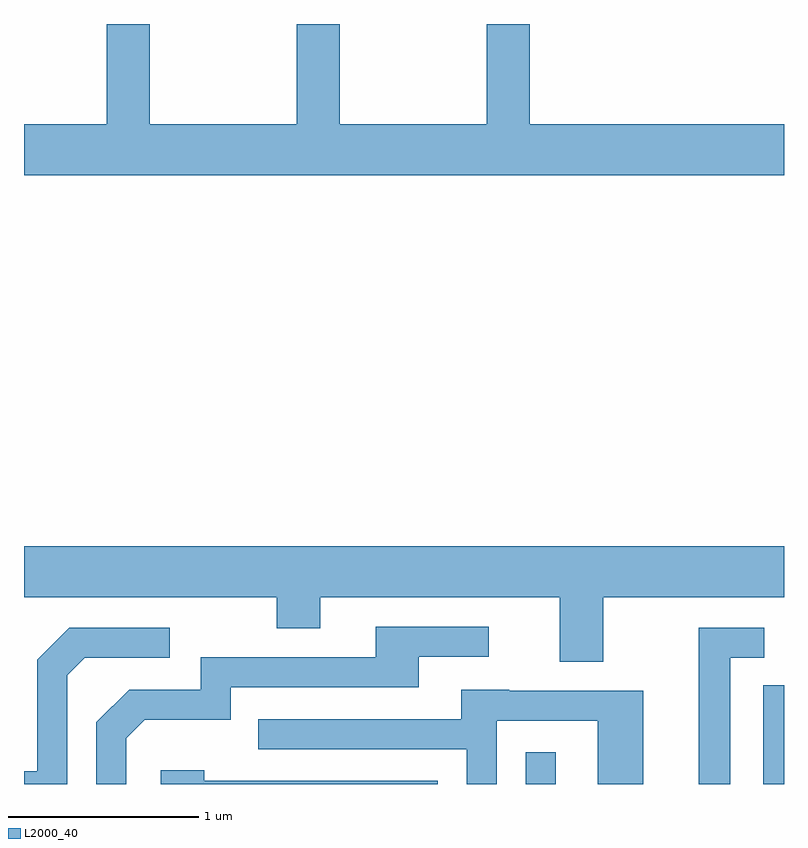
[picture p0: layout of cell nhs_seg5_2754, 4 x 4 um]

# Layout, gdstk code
import gdstk
lib = gdstk.Library(unit=1e-6, precision=1e-09)
def R(c, l, rs):  # rectangles x0, y0, x1, y1
    for r in rs: c.add(gdstk.rectangle(r[:2], r[2:], *l))
def P(c, l, *ps):  # polygons
    for p in ps: c.add(gdstk.Polygon(p, *l))
L2000_40 = (2000, 40)

nhs_seg5_2754 = lib.new_cell('nhs_seg5_2754')
R(nhs_seg5_2754, L2000_40, [(270.251,1418.072,270.409,1418.238), (271.501,1418.072,271.611,1418.593)])
P(nhs_seg5_2754, L2000_40, [(271.611,1421.544),(270.274,1421.544),(270.274,1422.072),(270.046,1422.072),(270.046,1421.544),(269.274,1421.544),(269.274,1422.072),(269.046,1422.072),(269.046,1421.544),(268.274,1421.544),(268.274,1422.072),(268.046,1422.072),(268.046,1421.544),(267.611,1421.544),(267.611,1421.276),(271.611,1421.276)],
  [(270.659,1419.056),(271.611,1419.056),(271.611,1419.324),(267.611,1419.324),(267.611,1419.056),(268.941,1419.056),(268.941,1418.891),(269.169,1418.891),(269.169,1419.056),(270.431,1419.056),(270.431,1418.716),(270.659,1418.716)],
  [(268.149,1418.314),(268.247,1418.411),(268.699,1418.411),(268.699,1418.581),(269.689,1418.581),(269.689,1418.741),(270.058,1418.741),(270.058,1418.899),(269.461,1418.899),(269.461,1418.739),(268.541,1418.739),(268.541,1418.569),(268.164,1418.569),(267.991,1418.397),(267.991,1418.072),(268.149,1418.072)],
  [(271.329,1418.736),(271.508,1418.736),(271.508,1418.894),(271.161,1418.894),(271.161,1418.072),(271.329,1418.072)],
  [(267.839,1418.644),(267.932,1418.736),(268.378,1418.736),(268.378,1418.894),(267.849,1418.894),(267.681,1418.727),(267.681,1418.139),(267.611,1418.139),(267.611,1418.072),(267.839,1418.072)],
  [(270.099,1418.406),(270.631,1418.406),(270.631,1418.072),(270.869,1418.072),(270.869,1418.564),(270.165,1418.564),(270.165,1418.569),(269.911,1418.569),(269.911,1418.414),(268.843,1418.414),(268.843,1418.256),(269.941,1418.256),(269.941,1418.072),(270.099,1418.072)],
  [(269.789,1418.089),(268.559,1418.089),(268.559,1418.144),(268.331,1418.144),(268.331,1418.072),(269.789,1418.072)])

lib.write_gds('nhs_seg5_2754.gds')
